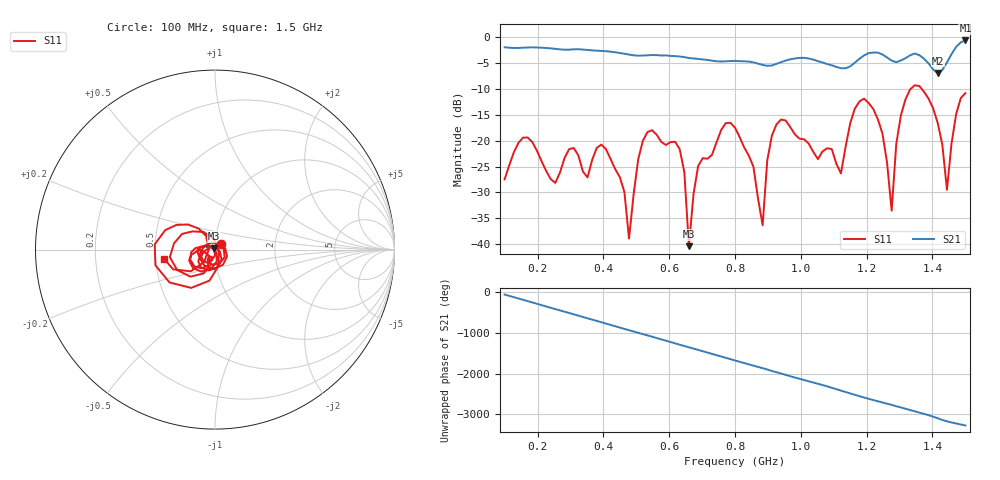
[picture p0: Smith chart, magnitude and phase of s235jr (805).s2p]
! NanoVNA-App
! Date: 2025-09-25 15:10:26
! Start: 100MHz Stop: 1,5GHz Points: 101
! S-Parameter data: F S11 S21 S12 S22
# Hz S RI R 50
!  Frequency  S11_Real  S11_Imag  S21_Real  S21_Imag  S12_Real  S12_Imag  S22_Real  S22_Imag
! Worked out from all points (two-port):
!   101 points, 100 MHz to 1.5 GHz, reference 50 ohm
!   highest |S21| = -0.64 dB at 1.5 GHz (marker M1); lowest = -6.9 dB at 1.416 GHz (marker M2)
!   |S21| within 3 dB of the highest: start of sweep to 610.7 MHz; 1.19 GHz to 1.255 GHz (65.24 MHz wide, 5.34 % of centre) (the widest 2 of 4)
!   lowest |S11| = -40.4 dB at 660 MHz (marker M3), VSWR 1.02, Z = 49.3 + j0.618 ohm
!   |S11| at or under -10 dB: start of sweep to 1.334 GHz; 1.367 GHz to end of sweep
!   S12 and S22 are empty: the file has one direction only
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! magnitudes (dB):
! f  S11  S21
! 100 MHz  -27.5  -2.0
! 156 MHz  -19.4  -2.0
! 338 MHz  -26.0  -2.4
! 408 MHz  -21.6  -2.7
! 478 MHz  -38.9  -3.4
! 520 MHz  -20.0  -3.5
! 576 MHz  -20.2  -3.5
! 632 MHz  -21.6  -3.7
! 660 MHz  -40.4  -4.0
! 688 MHz  -24.9  -4.2
! 800 MHz  -17.5  -4.6
! 884 MHz  -36.3  -5.4
! 926 MHz  -16.8  -5.2
! 1.038 GHz  -22.2  -4.3
! 1.122 GHz  -26.3  -6.0
! 1.192 GHz  -11.9  -3.5
! 1.248 GHz  -18.6  -3.4
! 1.276 GHz  -33.5  -4.5
! 1.332 GHz  -10.1  -3.5
! 1.416 GHz  -16.6  -6.9
! 1.444 GHz  -29.5  -4.9
! 1.5 GHz  -10.8  -0.6
